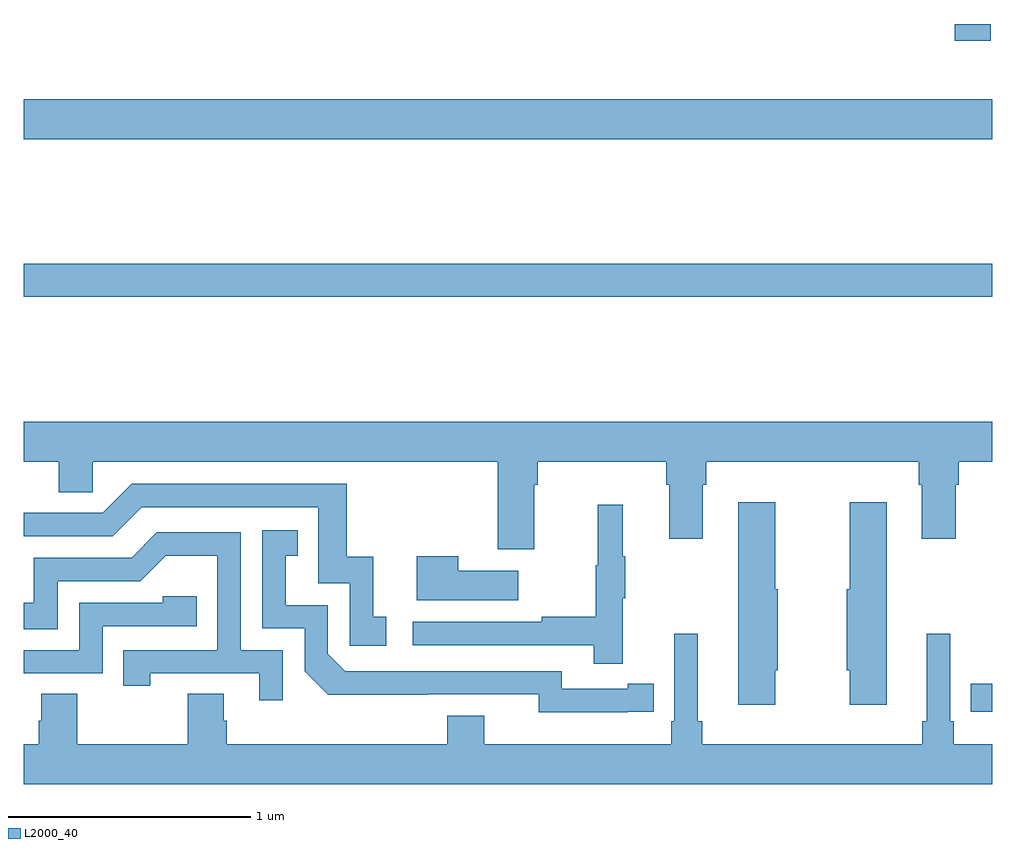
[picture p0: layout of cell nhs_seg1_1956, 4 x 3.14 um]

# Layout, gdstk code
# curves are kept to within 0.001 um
import gdstk
lib = gdstk.Library(unit=1e-6, precision=1e-09)
def R(c, l, rs):  # rectangles x0, y0, x1, y1
    for r in rs: c.add(gdstk.rectangle(r[:2], r[2:], *l))
def P(c, l, *ps):  # polygons
    for p in ps: c.add(gdstk.Polygon(p, *l))
L2000_40 = (2000, 40)

nhs_seg1_1956 = lib.new_cell('nhs_seg1_1956')
R(nhs_seg1_1956, L2000_40, [(220.912,557.358,221,557.474), (217,559.072,221,559.208), (217,559.724,221,559.888), (220.845,560.13,220.993,560.199)])
P(nhs_seg1_1956, L2000_40, [(219.109,558.296),(219.122,558.296),(219.122,558.392),(219.653,558.392),(219.653,558.296),(219.665,558.296),(219.665,558.072),(219.805,558.072),(219.805,558.296),(219.818,558.296),(219.818,558.392),(220.697,558.392),(220.697,558.296),(220.709,558.296),(220.709,558.072),(220.849,558.072),(220.849,558.296),(220.862,558.296),(220.862,558.392),(221,558.392),(221,558.556),(217,558.556),(217,558.392),(217.145,558.392),(217.145,558.265),(217.284,558.265),(217.284,558.392),(218.957,558.392),(218.957,558.03),(219.109,558.03)],
  [(218.497,557.751),(218.444,557.751),(218.444,557.998),(218.333,557.998),(218.333,558.3),(217.446,558.3),(217.326,558.18),(217,558.18),(217,558.084),(217.368,558.084),(217.488,558.204),(218.217,558.204),(218.217,557.889),(218.346,557.889),(218.346,557.631),(218.497,557.631)],
  [(220.564,558.223),(220.411,558.223),(220.411,557.865),(220.4,557.865),(220.4,557.529),(220.411,557.529),(220.411,557.388),(220.564,557.388)],
  [(220.104,557.529),(220.114,557.529),(220.114,557.865),(220.104,557.865),(220.104,558.223),(219.95,558.223),(219.95,557.388),(220.104,557.388)],
  [(219.473,557.827),(219.484,557.827),(219.484,558.001),(219.473,558.001),(219.473,558.214),(219.37,558.214),(219.37,557.964),(219.363,557.964),(219.363,557.75),(219.139,557.75),(219.139,557.73),(218.607,557.73),(218.607,557.634),(219.355,557.634),(219.355,557.556),(219.473,557.556)],
  [(219.494,557.358),(219.602,557.358),(219.602,557.474),(219.494,557.474),(219.494,557.454),(219.222,557.454),(219.222,557.526),(218.328,557.526),(218.256,557.598),(218.256,557.799),(218.083,557.799),(218.083,558.003),(218.132,558.003),(218.132,558.109),(217.986,558.109),(217.986,557.703),(218.16,557.703),(218.16,557.526),(218.258,557.429),(219.126,557.43),(219.126,557.357)],
  [(218.07,557.613),(217.896,557.613),(217.896,558.099),(217.55,558.099),(217.445,557.994),(217.042,557.994),(217.042,557.809),(217,557.809),(217,557.7),(217.14,557.7),(217.14,557.898),(217.482,557.898),(217.586,558.002),(217.8,558.002),(217.8,557.613),(217.411,557.613),(217.411,557.466),(217.522,557.466),(217.522,557.517),(217.973,557.517),(217.973,557.406),(218.07,557.406)],
  [(219.043,557.941),(218.795,557.941),(218.795,558.001),(218.624,558.001),(218.624,557.819),(219.043,557.819)],
  [(217.326,557.712),(217.715,557.712),(217.715,557.835),(217.575,557.835),(217.575,557.808),(217.23,557.808),(217.23,557.613),(217,557.613),(217,557.517),(217.326,557.517)],
  [(221,557.224),(220.841,557.224),(220.841,557.32),(220.827,557.32),(220.827,557.68),(220.73,557.68),(220.73,557.32),(220.711,557.32),(220.711,557.224),(219.803,557.224),(219.803,557.32),(219.784,557.32),(219.784,557.68),(219.687,557.68),(219.687,557.32),(219.674,557.32),(219.674,557.224),(218.902,557.224),(218.902,557.341),(218.75,557.341),(218.75,557.224),(217.838,557.224),(217.838,557.322),(217.825,557.322),(217.825,557.432),(217.678,557.432),(217.678,557.224),(217.221,557.224),(217.221,557.432),(217.073,557.432),(217.073,557.322),(217.061,557.322),(217.061,557.224),(217,557.224),(217,557.06),(221,557.06)])

lib.write_gds('nhs_seg1_1956.gds')
